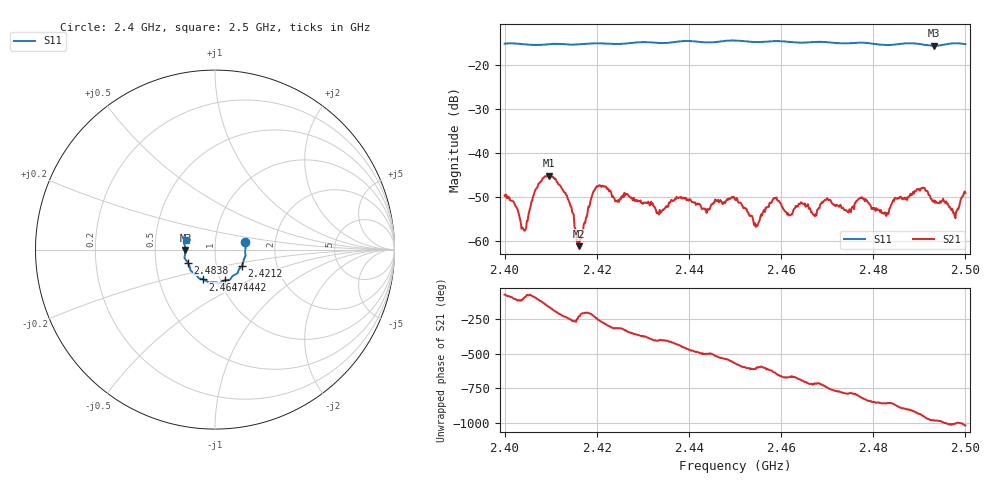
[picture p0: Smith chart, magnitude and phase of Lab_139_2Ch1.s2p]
# Hz S RI R 50
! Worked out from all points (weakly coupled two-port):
!   601 points, 2.4 GHz to 2.5 GHz, reference 50 ohm
!   highest |S21| = -45.13 dB at 2.4097 GHz (marker M1); lowest = -61.1 dB at 2.4162 GHz (marker M2)
!   lowest |S11| = -15.7 dB at 2.4932 GHz (marker M3), VSWR 1.39, Z = 35.9 - j0.116 ohm
!   |S11| at or under -10 dB: start of sweep to end of sweep
!   S12 and S22 are empty: the file has one direction only
!   S11 on the Smith chart (normalised r, x): 2.4 GHz: 1.40, +0.12; 2.4212 GHz: 1.33, -0.25; 2.4442 GHz: 1.05, -0.37; 2.4647 GHz: 0.83, -0.28; 2.4838 GHz: 0.73, -0.11; 2.5 GHz: 0.71, +0.08
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2.4e9  0.1693 0.0401  0.000914 -0.00318  0 0  0 0
2.404167e9  0.1704 0.0172  -0.000195 -0.00133  0 0  0 0
2.407e9  0.1683 -0.0102  -0.00101 -0.00389  0 0  0 0
2.409667e9  0.1696 -0.0275  -0.00531 -0.00159  0 0  0 0
2.413667e9  0.1642 -0.0472  -0.00141 0.00274  0 0  0 0
2.416167e9  0.1589 -0.0644  -0.000569 0.00067  0 0  0 0
2.416667e9  0.1579 -0.0684  -0.000918 0.000592  0 0  0 0
2.419167e9  0.1544 -0.0829  -0.00254 0.00247  0 0  0 0
2.421167e9  0.1513 -0.0894  0.000295 0.00424  0 0  0 0
2.433333e9  0.1087 -0.14  0.00141 -0.00156  0 0  0 0
2.444167e9  0.0569 -0.1706  -0.00182 -0.00135  0 0  0 0
2.45e9  0.0243 -0.1876  -0.00261 0.00149  0 0  0 0
2.4545e9  -0.00301 -0.1818  -0.000461 0.00138  0 0  0 0
2.4585e9  -0.0295 -0.1836  0.000305 0.00309  0 0  0 0
2.464667e9  -0.067 -0.166  0.00248 0.00104  0 0  0 0
2.466667e9  -0.0814 -0.1619  0.00213 5.23e-05  0 0  0 0
2.483333e9  -0.1495 -0.0765  -0.00153 -0.00137  0 0  0 0
2.483833e9  -0.1523 -0.072  -0.00191 -0.00168  0 0  0 0
2.490667e9  -0.1679 -0.0311  -0.00258 0.00304  0 0  0 0
2.493167e9  -0.1648 -0.00157  -0.000285 0.0029  0 0  0 0
2.497833e9  -0.1718 0.0388  0.000572 0.00173  0 0  0 0
2.5e9  -0.1641 0.0518  0.00178 0.00307  0 0  0 0
